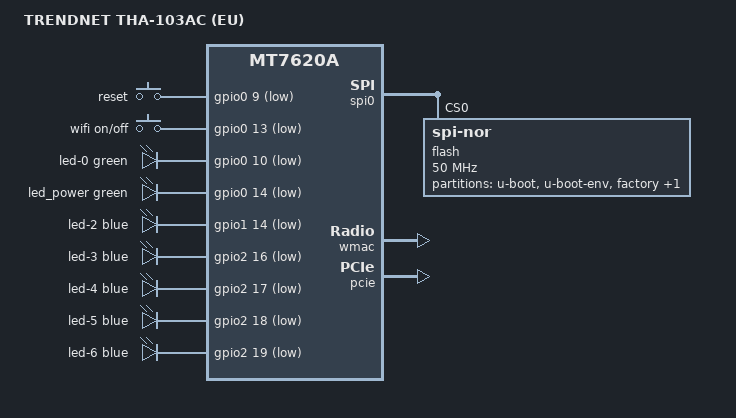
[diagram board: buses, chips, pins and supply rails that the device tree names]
// SPDX-License-Identifier: GPL-2.0-or-later OR MIT

#include "mt7620a.dtsi"

#include <dt-bindings/gpio/gpio.h>
#include <dt-bindings/input/input.h>
#include <dt-bindings/leds/common.h>

/ {
	compatible = "trendnet,tha103ac", "ralink,mt7620a-soc";
	model = "TRENDNET THA-103AC (EU)";

	aliases {
		label-mac-device = &ethernet;
		led-boot = &led_power;
		led-failsafe = &led_power;
		led-running = &led_power;
		led-upgrade = &led_power;
	};

	keys: keys {
		compatible = "gpio-keys";

		button_reset {
			label = "reset";
			gpios = <&gpio0 9 GPIO_ACTIVE_LOW>;
			linux,code = <KEY_RESTART>;
		};

		/* wps button reassigned to rfkill */
		button_rfkill {
			label = "wifi on/off";
			gpios = <&gpio0 13 GPIO_ACTIVE_LOW>;
			linux,code = <KEY_RFKILL>;
		};

	};

	leds {
		compatible = "gpio-leds";

		led-0 {
			color = <LED_COLOR_ID_GREEN>;
			function = LED_FUNCTION_WPS;
			gpios = <&gpio0 10 GPIO_ACTIVE_LOW>;
		};

		led_power: led-1 {
			color = <LED_COLOR_ID_GREEN>;
			function = LED_FUNCTION_POWER;
			gpios = <&gpio0 14 GPIO_ACTIVE_LOW>;
			default-state = "on";
		};

		led-2 {
			color = <LED_COLOR_ID_BLUE>;
			function = LED_FUNCTION_WLAN;
			gpios = <&gpio1 14 GPIO_ACTIVE_LOW>;
		};

		led-3 {
			color = <LED_COLOR_ID_BLUE>;
			/* LED_FUNCTION_RSSILOW isn't implemented yet */
			function = "rssilow";
			gpios = <&gpio2 16 GPIO_ACTIVE_LOW>;
		};

		led-4 {
			color = <LED_COLOR_ID_BLUE>;
			/* LED_FUNCTION_RSSIMEDLOW isn't implemented yet */
			function = "rssimedlow";
			gpios = <&gpio2 17 GPIO_ACTIVE_LOW>;
		};

		led-5 {
			color = <LED_COLOR_ID_BLUE>;
			/* LED_FUNCTION_RSSIMEDIUM isn't implemented yet */
			function = "rssimedium";
			gpios = <&gpio2 18 GPIO_ACTIVE_LOW>;
		};

		led-6 {
			color = <LED_COLOR_ID_BLUE>;
			/* LED_FUNCTION_RSSIHIGH isn't implemented yet */
			function = "rssihigh";
			gpios = <&gpio2 19 GPIO_ACTIVE_LOW>;
		};
	};
};

&spi0 {
	status = "okay";

	flash@0 {
		compatible = "jedec,spi-nor";
		reg = <0>;
		spi-max-frequency = <50000000>;

		partitions {
			compatible = "fixed-partitions";
			#address-cells = <1>;
			#size-cells = <1>;

			partition@0 {
				label = "u-boot";
				reg = <0x0 0x30000>;
				read-only;
			};

			partition@30000 {
				label = "u-boot-env";
				reg = <0x30000 0x10000>;
				read-only;
			};

			partition@40000 {
				label = "factory";
				reg = <0x40000 0x10000>;
				read-only;

				nvmem-layout {
					compatible = "fixed-layout";
					#address-cells = <1>;
					#size-cells = <1>;

					eeprom_factory_0: eeprom@0 {
						reg = <0x0 0x200>;
					};

					eeprom_factory_8000: eeprom@8000 {
						reg = <0x8000 0x200>;
					};

					macaddr_factory_4: macaddr@4 {
						compatible = "mac-base";
						reg = <0x4 0x6>;
						#nvmem-cell-cells = <1>;
					};

					macaddr_factory_28: macaddr@28 {
						compatible = "mac-base";
						reg = <0x28 0x6>;
						#nvmem-cell-cells = <1>;
					};

					macaddr_factory_8004: macaddr@8004 {
						compatible = "mac-base";
						reg = <0x8004 0x6>;
						#nvmem-cell-cells = <1>;
					};
				};
			};

			partition@50000 {
				compatible = "denx,uimage";
				label = "firmware";
				reg = <0x50000 0x7b0000>;
			};
		};
	};
};

&state_default {
	gpio {
		groups = "i2c", "uartf", "ephy";
		function = "gpio";
	};
};

&ethernet {
	nvmem-cells = <&macaddr_factory_28 0>;
	nvmem-cell-names = "mac-address";

	mediatek,portmap = "wl";
};

&gpio1 {
	status = "okay";
};

&gpio2 {
	status = "okay";
};

&wmac {
	nvmem-cells = <&eeprom_factory_0>, <&macaddr_factory_4 0>;
	nvmem-cell-names = "eeprom", "mac-address";
};

&pcie {
	status = "okay";
};

&pcie0 {
	wifi@0,0 {
		reg = <0x0000 0 0 0 0>;
		ieee80211-freq-limit = <5000000 6000000>;
		nvmem-cells = <&eeprom_factory_8000>, <&macaddr_factory_8004 0>;
		nvmem-cell-names = "eeprom", "mac-address";
	};
};
